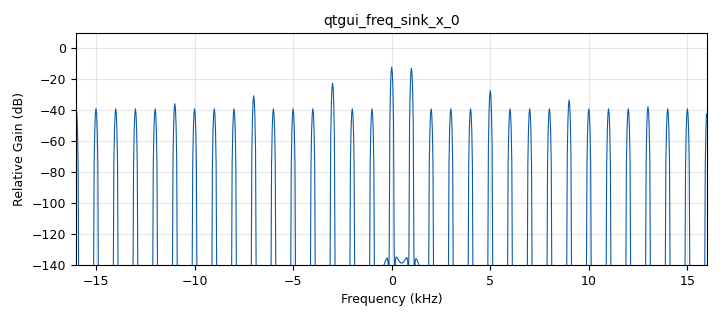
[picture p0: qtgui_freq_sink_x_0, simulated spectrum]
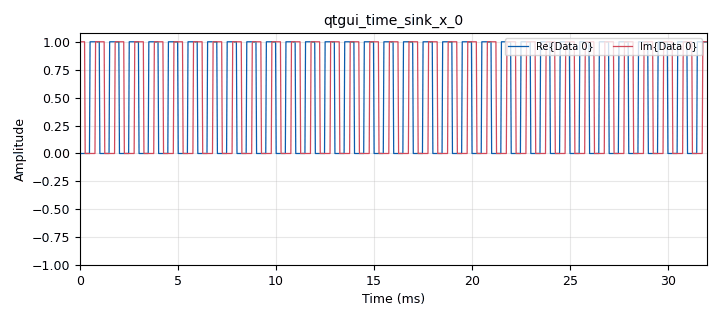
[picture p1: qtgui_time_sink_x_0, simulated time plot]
options:
  parameters:
    author: cocolino
    copyright: GNU General Public License (GPL)
    generate_options: qt_gui
    id: default
    output_language: python
    title: Questions and Answers
  states: {}

blocks:
- name: samp_rate
  id: variable
  parameters:
    value: '32000'
  states: {}
- name: variable_qtgui_range_0
  id: variable_qtgui_range
  parameters:
    start: '0'
    step: '1'
    stop: 16e3
    value: '1000'
  states: {state: disabled}
- name: variable_qtgui_range_0
  id: variable_qtgui_range
  parameters:
    start: '0'
    step: '1'
    stop: samp_rate
    value: 16e3
  states: {state: disabled}
- name: analog_sig_source_x_0
  id: analog_sig_source_x
  parameters:
    amp: '1'
    freq: 1e3
    offset: '0'
    phase: '0'
    samp_rate: samp_rate
    type: complex
    waveform: analog.GR_SQR_WAVE
  states: {}
- name: blocks_throttle_0
  id: blocks_throttle
  parameters:
    samples_per_second: samp_rate
    type: complex
  states: {}
- name: note_0
  id: note
  parameters:
    note: 'Question 2: No the signal with the throttle block removed appears to be the same.'
  states: {}
- name: note_0_0
  id: note
  parameters:
    note: 'Question 3: Yes and no. I can see we get the strongest signal in the FFT sink is at 1kHz. But we also have two symmetrical signals at 0.75kHz and 1.25kHz'
  states: {}
- name: note_0_0_0
  id: note
  parameters:
    note: 'Question 3: '
  states: {}
- name: note_0_0_0_0
  id: note
  parameters:
    note: 'Question 4: '
  states: {}
- name: note_0_0_0_0_0
  id: note
  parameters:
    note: 'Question 5: '
  states: {}
- name: qtgui_freq_sink_x_0
  id: qtgui_freq_sink_x
  parameters:
    bw: samp_rate
    fc: '0'
    fftsize: '1024'
    type: complex
  states: {}
- name: qtgui_freq_sink_x_0_0
  id: qtgui_freq_sink_x
  parameters:
    bw: samp_rate
    fc: '0'
    fftsize: '1024'
    name: '"Raw"'
    type: complex
  states: {state: disabled}
- name: qtgui_freq_sink_x_0_1
  id: qtgui_freq_sink_x
  parameters:
    bw: samp_rate/3
    fc: '0'
    fftsize: '1024'
    type: complex
  states: {state: disabled}
- name: qtgui_time_sink_x_0
  id: qtgui_time_sink_x
  parameters:
    size: '1024'
    srate: samp_rate
    type: complex
  states: {}

connections:
- [analog_sig_source_x_0, '0', blocks_throttle_0, '0']
- [analog_sig_source_x_0, '0', qtgui_freq_sink_x_0_0, '0']
- [blocks_throttle_0, '0', qtgui_freq_sink_x_0, '0']
- [blocks_throttle_0, '0', qtgui_freq_sink_x_0_1, '0']
- [blocks_throttle_0, '0', qtgui_time_sink_x_0, '0']

metadata:
  file_format: 1
  grc_version: 3.10.9.2
